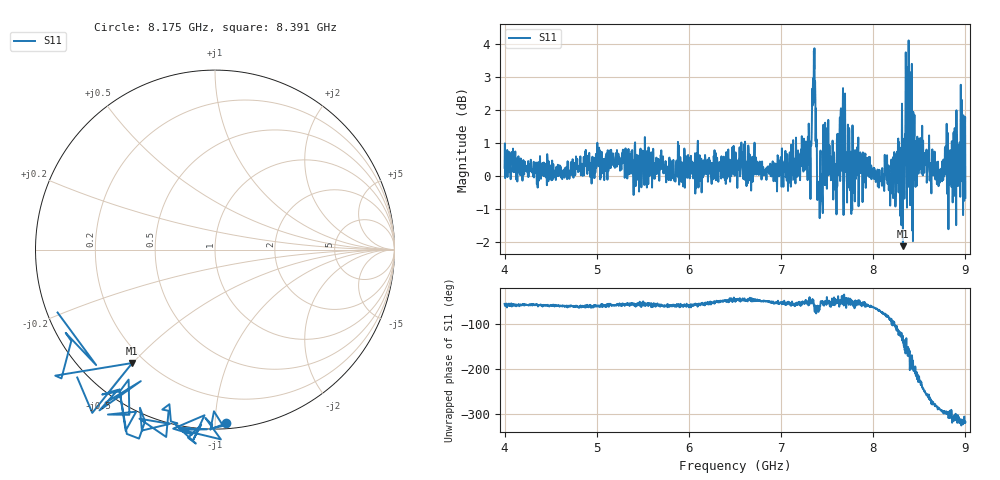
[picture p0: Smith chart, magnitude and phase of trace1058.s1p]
! Created with skrf 1.8.0 (http://scikit-rf.org).
# Hz S RI R 50.0
!freq ReS11 ImS11
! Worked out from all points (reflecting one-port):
!   1601 points, 4 GHz to 9 GHz, reference 50 ohm
!   lowest |S11| = -2.1 dB at 8.322 GHz (marker M1), VSWR 8.18, Z = 7.66 - j24.9 ohm
!   phase of S11 starts at -55 deg and turns -264 deg over the sweep
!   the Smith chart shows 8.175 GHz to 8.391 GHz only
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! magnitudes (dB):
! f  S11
! 4 GHz  0.2
! 4.625 GHz  -0.1
! 5.25 GHz  0.3
! 5.875 GHz  0.4
! 6.5 GHz  0.3
! 7.125 GHz  0.4
! 7.297 GHz  0.4
! 7.353 GHz  2.3
! 7.366 GHz  2.2
! 7.4 GHz  -0.2
! 7.428 GHz  0.8
! 7.503 GHz  1.3
! 7.591 GHz  0.4
! 7.631 GHz  0.8
! 7.669 GHz  1.8
! 7.7 GHz  0.1
! 7.75 GHz  -0.4
! 8.097 GHz  0.2
! 8.322 GHz  -2.1
! 8.334 GHz  -0.4
! 8.375 GHz  0.1
! 8.412 GHz  0.4
! 8.447 GHz  1.8
! 8.459 GHz  -0.3
! 8.506 GHz  0.5
! 8.716 GHz  -0.1
! 8.972 GHz  0.9
! 9 GHz  -0.7
